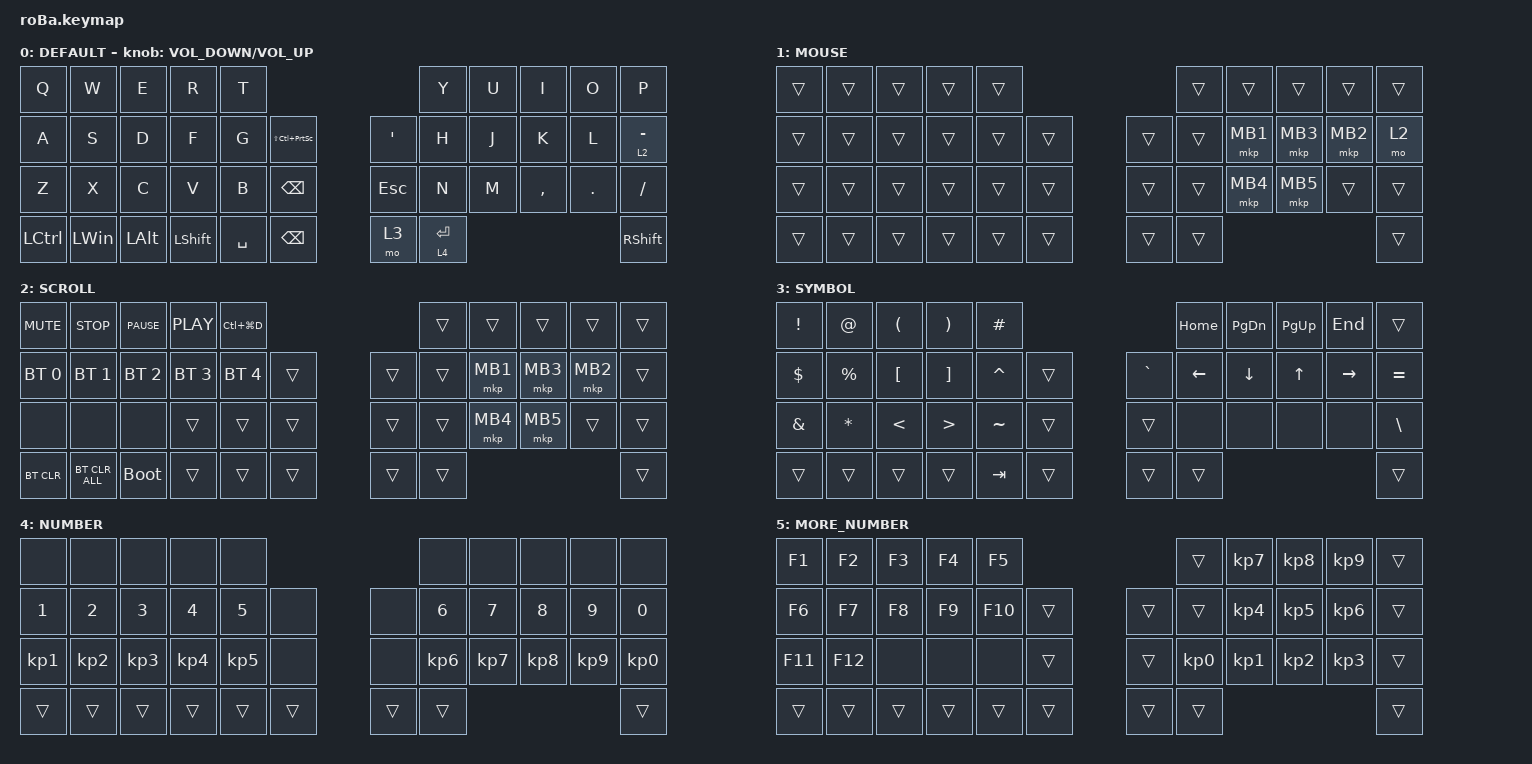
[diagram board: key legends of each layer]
#include <input/processors.dtsi>
#include <behaviors.dtsi>
#include <dt-bindings/zmk/bt.h>
#include <dt-bindings/zmk/keys.h>
#include <dt-bindings/zmk/pointing.h>

&mkp_input_listener { input-processors = <&zip_temp_layer 1 250>; };

&mt {
    flavor = "balanced";
    quick-tap-ms = <0>;
};

//&trackball {
//automouse-layer = <4>;
//scroll-layers = <5>;
// arrows {
//     layers = <3>;
//     bindings =
//         <&kp RIGHT_ARROW>,
//         <&kp LEFT_ARROW>,
//         <&kp UP_ARROW>,
//         <&kp DOWN_ARROW>;
//     tick = <10>;
//     wait-ms = <5>;
//     tap-ms = <5>;
// };
//};

/ {
    combos {
        compatible = "zmk,combos";

        japanese {
            bindings = <&kp LS(LC(LG(J)))>;
            key-positions = <12 13>;
            layers = <0 1>;
        };

        english {
            bindings = <&kp LS(LC(LG(K)))>;
            key-positions = <12 11>;
            layers = <0 1>;
        };

        delete {
            bindings = <&kp DELETE>;
            key-positions = <38 39>;
            layers = <0 3 4 1>;
        };

        semicolon {
            bindings = <&kp SEMICOLON>;
            key-positions = <31 32>;
            layers = <0 1>;
        };

        shift-tab {
            bindings = <&kp LS(TAB)>;
            key-positions = <37 38>;
            layers = <3>;
        };

        MORE_nu {
            bindings = <&mo 5>;
            key-positions = <40 41>;
        };
    };

    macros {
        to_layer_0: to_layer_0 {
            compatible = "zmk,behavior-macro-one-param";
            #binding-cells = <1>;
            bindings = <&to 0 &macro_param_1to1 &kp MACRO_PLACEHOLDER>;
            label = "TO_LAYER_0";
        };
    };

    behaviors {
        lt_to_layer_0: lt_to_layer_0 {
            compatible = "zmk,behavior-hold-tap";
            label = "LAYER_TAP_TO_0";
            bindings = <&mo>, <&to_layer_0>;

            #binding-cells = <2>;
            tapping-term-ms = <200>;
        };

        scroll_with_rotary_encoder: scroll_with_rotary_encoder {
            compatible = "zmk,behavior-sensor-rotate-var";
            label = "SCROLL_WITH_ROTARY_ENCODER";
            #sensor-binding-cells = <2>;
            bindings = <&msc>, <&msc>;
        };
    };

    keymap {
        compatible = "zmk,keymap";

        DEFAULT {
            bindings = <
&kp Q      &kp W         &kp E         &kp R           &kp T                                               &kp Y        &kp U  &kp I      &kp O    &kp P
&kp A      &kp S         &kp D         &kp F           &kp G      &kp LS(LC(PRINTSCREEN))      &kp SQT     &kp H        &kp J  &kp K      &kp L    &lt 2 MINUS
&kp Z      &kp X         &kp C         &kp V           &kp B      &kp BACKSPACE                &kp ESCAPE  &kp N        &kp M  &kp COMMA  &kp DOT  &kp SLASH
&kp LCTRL  &kp LEFT_WIN  &kp LEFT_ALT  &kp LEFT_SHIFT  &kp SPACE  &kp BACKSPACE                &mo 3       &lt 4 ENTER                             &kp RIGHT_SHIFT
            >;

            sensor-bindings = <&inc_dec_kp C_VOLUME_DOWN C_VOLUME_UP>;
        };

        MOUSE {
            bindings = <
&trans  &trans  &trans  &trans  &trans                      &trans  &trans    &trans    &trans    &trans
&trans  &trans  &trans  &trans  &trans  &trans      &trans  &trans  &mkp MB1  &mkp MB3  &mkp MB2  &mo 2
&trans  &trans  &trans  &trans  &trans  &trans      &trans  &trans  &mkp MB4  &mkp MB5  &trans    &trans
&trans  &trans  &trans  &trans  &trans  &trans      &trans  &trans                                &trans
            >;
        };

        SCROLL {
            bindings = <
&kp C_MUTE    &kp C_STOP      &kp C_PAUSE   &kp C_PLAY    &kp LC(LG(D))                      &trans  &trans    &trans    &trans    &trans
&bt BT_SEL 0  &bt BT_SEL 1    &bt BT_SEL 2  &bt BT_SEL 3  &bt BT_SEL 4   &trans      &trans  &trans  &mkp MB1  &mkp MB3  &mkp MB2  &trans
&none         &none           &none         &trans        &trans         &trans      &trans  &trans  &mkp MB4  &mkp MB5  &trans    &trans
&bt BT_CLR    &bt BT_CLR_ALL  &bootloader   &trans        &trans         &trans      &trans  &trans                                &trans
            >;
        };

        SYMBOL {
            bindings = <
&kp EXCLAMATION  &kp AT_SIGN   &kp LEFT_PARENTHESIS  &kp RIGHT_PARENTHESIS  &kp POUND                         &kp HOME        &kp PAGE_DOWN   &kp PAGE_UP   &kp END          &trans
&kp DOLLAR       &kp PERCENT   &kp LEFT_BRACKET      &kp RIGHT_BRACKET      &kp CARET  &trans      &kp GRAVE  &kp LEFT_ARROW  &kp DOWN_ARROW  &kp UP_ARROW  &kp RIGHT_ARROW  &kp EQUAL
&kp AMPERSAND    &kp ASTERISK  &kp LESS_THAN         &kp GREATER_THAN       &kp TILDE  &trans      &trans     &none           &none           &none         &none            &kp BACKSLASH
&trans           &trans        &trans                &trans                 &kp TAB    &trans      &trans     &trans                                                         &trans
            >;
        };

        NUMBER {
            bindings = <
&none         &none         &none         &none         &none                             &none            &none         &none         &none         &none
&kp NUMBER_1  &kp NUMBER_2  &kp NUMBER_3  &kp NUMBER_4  &kp NUMBER_5  &none       &none   &kp NUMBER_6     &kp NUMBER_7  &kp NUMBER_8  &kp NUMBER_9  &kp NUMBER_0
&kp KP_N1     &kp KP_N2     &kp KP_N3     &kp KP_N4     &kp KP_N5     &none       &none   &kp KP_NUMBER_6  &kp KP_N7     &kp KP_N8     &kp KP_N9     &kp KP_N0
&trans        &trans        &trans        &trans        &trans        &trans      &trans  &trans                                                     &trans
            >;
        };

        MORE_NUMBER {
            bindings = <
&kp F1   &kp F2   &kp F3  &kp F4  &kp F5                       &trans           &kp KP_NUMBER_7  &kp KP_NUMBER_8  &kp KP_NUMBER_9  &trans
&kp F6   &kp F7   &kp F8  &kp F9  &kp F10  &trans      &trans  &trans           &kp KP_NUMBER_4  &kp KP_NUMBER_5  &kp KP_NUMBER_6  &trans
&kp F11  &kp F12  &none   &none   &none    &trans      &trans  &kp KP_NUMBER_0  &kp KP_NUMBER_1  &kp KP_NUMBER_2  &kp KP_NUMBER_3  &trans
&trans   &trans   &trans  &trans  &trans   &trans      &trans  &trans                                                              &trans
            >;
        };
    };
};
